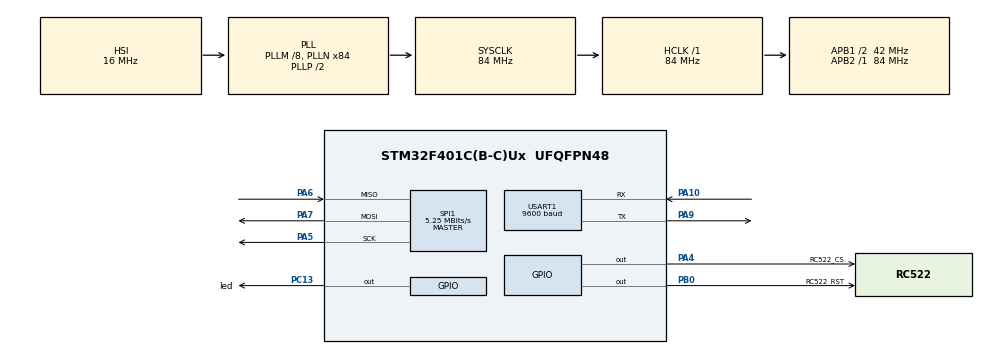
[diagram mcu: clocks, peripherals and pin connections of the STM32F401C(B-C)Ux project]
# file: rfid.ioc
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Mcu.Family=STM32F4
Mcu.Name=STM32F401C(B-C)Ux
Mcu.Package=UFQFPN48
NVIC.PriorityGroup=NVIC_PRIORITYGROUP_4
PA10.Mode=Asynchronous
PA10.Signal=USART1_RX
PA4.GPIO_Label=RC522_CS
PA4.Signal=GPIO_Output
PA5.Mode=Full_Duplex_Master
PA5.Signal=SPI1_SCK
PA6.Mode=Full_Duplex_Master
PA6.Signal=SPI1_MISO
PA7.Mode=Full_Duplex_Master
PA7.Signal=SPI1_MOSI
PA9.Mode=Asynchronous
PA9.Signal=USART1_TX
PB0.GPIO_Label=RC522_RST
PB0.Signal=GPIO_Output
PC13-ANTI_TAMP.GPIO_Label=led
PC13-ANTI_TAMP.Signal=GPIO_Output
PH0\ -\ OSC_IN.Mode=HSE-External-Oscillator
PH0\ -\ OSC_IN.Signal=RCC_OSC_IN
PH1\ -\ OSC_OUT.Mode=HSE-External-Oscillator
PH1\ -\ OSC_OUT.Signal=RCC_OSC_OUT
ProjectManager.HeapSize=0x200
ProjectManager.StackSize=0x400
ProjectManager.TargetToolchain=STM32CubeIDE
RCC.48MHZClocksFreq_Value=42000000
RCC.AHBFreq_Value=84000000
RCC.APB1CLKDivider=RCC_HCLK_DIV2
RCC.APB1Freq_Value=42000000
RCC.APB1TimFreq_Value=84000000
RCC.APB2Freq_Value=84000000
RCC.APB2TimFreq_Value=84000000
RCC.CortexFreq_Value=84000000
RCC.HCLKFreq_Value=84000000
RCC.HSE_VALUE=25000000
RCC.HSI_VALUE=16000000
RCC.LSE_VALUE=32768
RCC.PLLM=8
RCC.PLLN=84
RCC.SYSCLKFreq_VALUE=84000000
RCC.SYSCLKSource=RCC_SYSCLKSOURCE_PLLCLK
RCC.VCOOutputFreq_Value=168000000
SPI1.BaudRatePrescaler=SPI_BAUDRATEPRESCALER_16
SPI1.CalculateBaudRate=5.25 MBits/s
SPI1.Direction=SPI_DIRECTION_2LINES
SPI1.Mode=SPI_MODE_MASTER
SPI1.VirtualType=VM_MASTER
USART1.BaudRate=9600
USART1.VirtualMode=VM_ASYNC
board=custom

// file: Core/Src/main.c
/* USER CODE BEGIN Header */
/**
  ******************************************************************************
  * @file           : main.c
  * @brief          : Main program body
  ******************************************************************************
  * @attention
  *
  * Copyright (c) 2024 STMicroelectronics.
  * All rights reserved.
  *
  * This software is licensed under terms that can be found in the LICENSE file
  * in the root directory of this software component.
  * If no LICENSE file comes with this software, it is provided AS-IS.
  *
  ******************************************************************************
  */
/* USER CODE END Header */
#include "main.h"

/* USER CODE BEGIN Includes */
#include "delays.h"
#include "uart.h"
#include "RC522.h"

#include "stdio.h"
#include "stdint.h"
#include "string.h"
#include "stdlib.h"

/* USER CODE END Includes */

/* USER CODE BEGIN PD */
#define tag1 2903407447  //codigo del tag 1
#define tag2 1044690731  //codigo del tag 2
/* USER CODE END PD */

SPI_HandleTypeDef hspi1;

UART_HandleTypeDef huart1;

/* USER CODE BEGIN PV */

char texto[50];

//variables rfid
uint32_t codigo_rfid;
uint16_t TagType; // almacena el tipo de tag
extern uint8_t UID[];  // almacena el buffer del codigo de rfid
const uint8_t codigo1[]={0x73,0x78,0xE7,0xA6,0x4A};
const uint8_t codigo2[]={0x79,0x81,0xA1,0x55,0xC};

/* USER CODE END PV */

void SystemClock_Config(void);
static void MX_GPIO_Init(void);
static void MX_SPI1_Init(void);
static void MX_USART1_UART_Init(void);

int main(void)
{

  /* MCU Configuration--------------------------------------------------------*/

  /* Reset of all peripherals, Initializes the Flash interface and the Systick. */
  HAL_Init();

  /* Configure the system clock */
  SystemClock_Config();

  /* Initialize all configured peripherals */
  MX_GPIO_Init();
  MX_SPI1_Init();
  MX_USART1_UART_Init();
  /* USER CODE BEGIN 2 */
   MFRC522_Init();
   uartx_write_text(&huart1, "INICIANDO\r\n");
  /* USER CODE END 2 */

  /* Infinite loop */
  /* USER CODE BEGIN WHILE */
  while (1)
  {
	  if( MFRC522_isCard( &TagType ) )
	         {
       // HAL_GPIO_TogglePin(led_GPIO_Port, led_Pin);
        uartx_write_text(&huart1, "TARJETA DETECTADA\r\n");
        HAL_Delay(200);
//   lee UID
        if( MFRC522_ReadCardSerial( &UID ) )
                 {
                     /*
        	        uartx_write_text(&huart1, "cod=");
            		   //escribe el codigo
            		   for(uint8_t cont=0;cont<5;cont++)//COMPARA LOS 5 DIGITOS
            			   {
                           sprintf(texto,"0x%0X ",UID[cont]);
            			   uartx_write_text(&huart1, texto);
            			   }

                       uartx_write_text(&huart1, "\r\n");
                          */
        	  /*
        	        if (verifica(&codigo1,&UID , 5)==1)
        				   {
        				   HAL_GPIO_TogglePin(led_GPIO_Port, led_Pin);
        				   uartx_write_text(&huart1, "TAG1 DETECTADO\r\n");
        				   }

        	          else if (verifica(&codigo2,&UID , 5)==1)
        	              				   {
        	              				   //HAL_GPIO_WritePin(led_GPIO_Port, led_Pin, 0);
        	              				   uartx_write_text(&huart1, "TAG2 DETECTADO\r\n");
        	              				   }

        	          HAL_Delay(300);
                */

        	   //METODO HASH

 		   // lee codigo unico
             codigo_rfid=Hash_algoritmo();

             sprintf(texto,"tag#=%lu\r\n",codigo_rfid);

             uartx_write_text(&huart1, texto);

             //ANALISIS
             if (codigo_rfid==tag1)
             {
				   HAL_GPIO_TogglePin(led_GPIO_Port, led_Pin);
		   uartx_write_text(&huart1, "TAG1 DETECTADO\r\n");

             }

             else    if (codigo_rfid==tag2)
             {
		   uartx_write_text(&huart1, "TAG2 DETECTADO\r\n");

             }

             HAL_Delay(300);

                 }//fin if uid

            HAL_Delay(500);

	         }//fin si hay rfid
    /* USER CODE END WHILE */

  }
}

void SystemClock_Config(void)
{
  RCC_OscInitTypeDef RCC_OscInitStruct = {0};
  RCC_ClkInitTypeDef RCC_ClkInitStruct = {0};

  /** Configure the main internal regulator output voltage
  */
  __HAL_RCC_PWR_CLK_ENABLE();
  __HAL_PWR_VOLTAGESCALING_CONFIG(PWR_REGULATOR_VOLTAGE_SCALE2);

  /** Initializes the RCC Oscillators according to the specified parameters
  * in the RCC_OscInitTypeDef structure.
  */
  RCC_OscInitStruct.OscillatorType = RCC_OSCILLATORTYPE_HSI;
  RCC_OscInitStruct.HSIState = RCC_HSI_ON;
  RCC_OscInitStruct.HSICalibrationValue = RCC_HSICALIBRATION_DEFAULT;
  RCC_OscInitStruct.PLL.PLLState = RCC_PLL_ON;
  RCC_OscInitStruct.PLL.PLLSource = RCC_PLLSOURCE_HSI;
  RCC_OscInitStruct.PLL.PLLM = 8;
  RCC_OscInitStruct.PLL.PLLN = 84;
  RCC_OscInitStruct.PLL.PLLP = RCC_PLLP_DIV2;
  RCC_OscInitStruct.PLL.PLLQ = 4;
  if (HAL_RCC_OscConfig(&RCC_OscInitStruct) != HAL_OK)
  {
    Error_Handler();
  }

  /** Initializes the CPU, AHB and APB buses clocks
  */
  RCC_ClkInitStruct.ClockType = RCC_CLOCKTYPE_HCLK|RCC_CLOCKTYPE_SYSCLK
                              |RCC_CLOCKTYPE_PCLK1|RCC_CLOCKTYPE_PCLK2;
  RCC_ClkInitStruct.SYSCLKSource = RCC_SYSCLKSOURCE_PLLCLK;
  RCC_ClkInitStruct.AHBCLKDivider = RCC_SYSCLK_DIV1;
  RCC_ClkInitStruct.APB1CLKDivider = RCC_HCLK_DIV2;
  RCC_ClkInitStruct.APB2CLKDivider = RCC_HCLK_DIV1;

  if (HAL_RCC_ClockConfig(&RCC_ClkInitStruct, FLASH_LATENCY_2) != HAL_OK)
  {
    Error_Handler();
  }
}

static void MX_SPI1_Init(void)
{

  /* SPI1 parameter configuration*/
  hspi1.Instance = SPI1;
  hspi1.Init.Mode = SPI_MODE_MASTER;
  hspi1.Init.Direction = SPI_DIRECTION_2LINES;
  hspi1.Init.DataSize = SPI_DATASIZE_8BIT;
  hspi1.Init.CLKPolarity = SPI_POLARITY_LOW;
  hspi1.Init.CLKPhase = SPI_PHASE_1EDGE;
  hspi1.Init.NSS = SPI_NSS_SOFT;
  hspi1.Init.BaudRatePrescaler = SPI_BAUDRATEPRESCALER_16;
  hspi1.Init.FirstBit = SPI_FIRSTBIT_MSB;
  hspi1.Init.TIMode = SPI_TIMODE_DISABLE;
  hspi1.Init.CRCCalculation = SPI_CRCCALCULATION_DISABLE;
  hspi1.Init.CRCPolynomial = 10;
  if (HAL_SPI_Init(&hspi1) != HAL_OK)
  {
    Error_Handler();
  }

}

static void MX_USART1_UART_Init(void)
{

  huart1.Instance = USART1;
  huart1.Init.BaudRate = 9600;
  huart1.Init.WordLength = UART_WORDLENGTH_8B;
  huart1.Init.StopBits = UART_STOPBITS_1;
  huart1.Init.Parity = UART_PARITY_NONE;
  huart1.Init.Mode = UART_MODE_TX_RX;
  huart1.Init.HwFlowCtl = UART_HWCONTROL_NONE;
  huart1.Init.OverSampling = UART_OVERSAMPLING_16;
  if (HAL_UART_Init(&huart1) != HAL_OK)
  {
    Error_Handler();
  }

}

static void MX_GPIO_Init(void)
{
  GPIO_InitTypeDef GPIO_InitStruct = {0};

  /* GPIO Ports Clock Enable */
  __HAL_RCC_GPIOC_CLK_ENABLE();
  __HAL_RCC_GPIOH_CLK_ENABLE();
  __HAL_RCC_GPIOA_CLK_ENABLE();
  __HAL_RCC_GPIOB_CLK_ENABLE();

  /*Configure GPIO pin Output Level */
  HAL_GPIO_WritePin(led_GPIO_Port, led_Pin, GPIO_PIN_RESET);

  /*Configure GPIO pin Output Level */
  HAL_GPIO_WritePin(RC522_CS_GPIO_Port, RC522_CS_Pin, GPIO_PIN_RESET);

  /*Configure GPIO pin Output Level */
  HAL_GPIO_WritePin(RC522_RST_GPIO_Port, RC522_RST_Pin, GPIO_PIN_RESET);

  /*Configure GPIO pin : led_Pin */
  GPIO_InitStruct.Pin = led_Pin;
  GPIO_InitStruct.Mode = GPIO_MODE_OUTPUT_PP;
  GPIO_InitStruct.Pull = GPIO_NOPULL;
  GPIO_InitStruct.Speed = GPIO_SPEED_FREQ_LOW;
  HAL_GPIO_Init(led_GPIO_Port, &GPIO_InitStruct);

  /*Configure GPIO pin : RC522_CS_Pin */
  GPIO_InitStruct.Pin = RC522_CS_Pin;
  GPIO_InitStruct.Mode = GPIO_MODE_OUTPUT_PP;
  GPIO_InitStruct.Pull = GPIO_NOPULL;
  GPIO_InitStruct.Speed = GPIO_SPEED_FREQ_LOW;
  HAL_GPIO_Init(RC522_CS_GPIO_Port, &GPIO_InitStruct);

  /*Configure GPIO pin : RC522_RST_Pin */
  GPIO_InitStruct.Pin = RC522_RST_Pin;
  GPIO_InitStruct.Mode = GPIO_MODE_OUTPUT_PP;
  GPIO_InitStruct.Pull = GPIO_NOPULL;
  GPIO_InitStruct.Speed = GPIO_SPEED_FREQ_LOW;
  HAL_GPIO_Init(RC522_RST_GPIO_Port, &GPIO_InitStruct);

}

void Error_Handler(void)
{
  __disable_irq();
  while (1)
  {
  }
}
